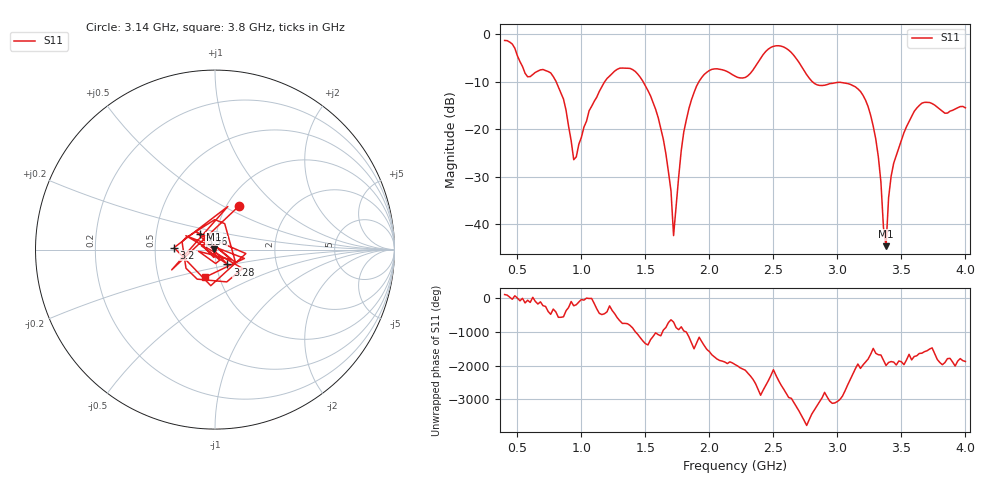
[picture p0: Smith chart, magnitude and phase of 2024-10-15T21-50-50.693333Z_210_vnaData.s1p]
! Created with skrf (http://scikit-rf.org).
# Hz S RI R 50.0
!freq ReS11 ImS11
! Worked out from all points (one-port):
!   181 points, 400 MHz to 4 GHz, reference 50 ohm
!   lowest |S11| = -44.6 dB at 3.38 GHz (marker M1), VSWR 1.01, Z = 49.4 + j0.182 ohm
!   |S11| at or under -10 dB: 802.8 MHz to 1.181 GHz (378.5 MHz wide, 38.2 % of centre); 1.483 GHz to 1.918 GHz (435.2 MHz wide, 25.6 % of centre); 2.805 GHz to end of sweep
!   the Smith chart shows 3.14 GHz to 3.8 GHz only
!   S11 on the Smith chart (normalised r, x): 3.14 GHz: 1.14, +0.61; 3.2 GHz: 0.63, +0.01; 3.28 GHz: 1.13, -0.19; 3.56 GHz: 0.84, +0.15; 3.8 GHz: 0.86, -0.27
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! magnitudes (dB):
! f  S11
! 400 MHz  -1.3
! 760 MHz  -8.1
! 860 MHz  -13.6
! 940 MHz  -26.4
! 1.06 GHz  -16.1
! 1.3 GHz  -7.1
! 1.44 GHz  -8.4
! 1.58 GHz  -15.8
! 1.66 GHz  -25.1
! 1.7 GHz  -33.0
! 1.72 GHz  -42.4
! 1.76 GHz  -30.0
! 1.82 GHz  -18.0
! 1.92 GHz  -9.9
! 2.2 GHz  -8.8
! 2.5 GHz  -2.5
! 2.66 GHz  -4.5
! 2.84 GHz  -10.6
! 3.1 GHz  -10.5
! 3.14 GHz  -11.1
! 3.2 GHz  -12.8
! 3.28 GHz  -19.3
! 3.32 GHz  -25.8
! 3.38 GHz  -44.6
! 3.42 GHz  -29.8
! 3.56 GHz  -18.4
! 3.8 GHz  -15.8
! 4 GHz  -15.5
